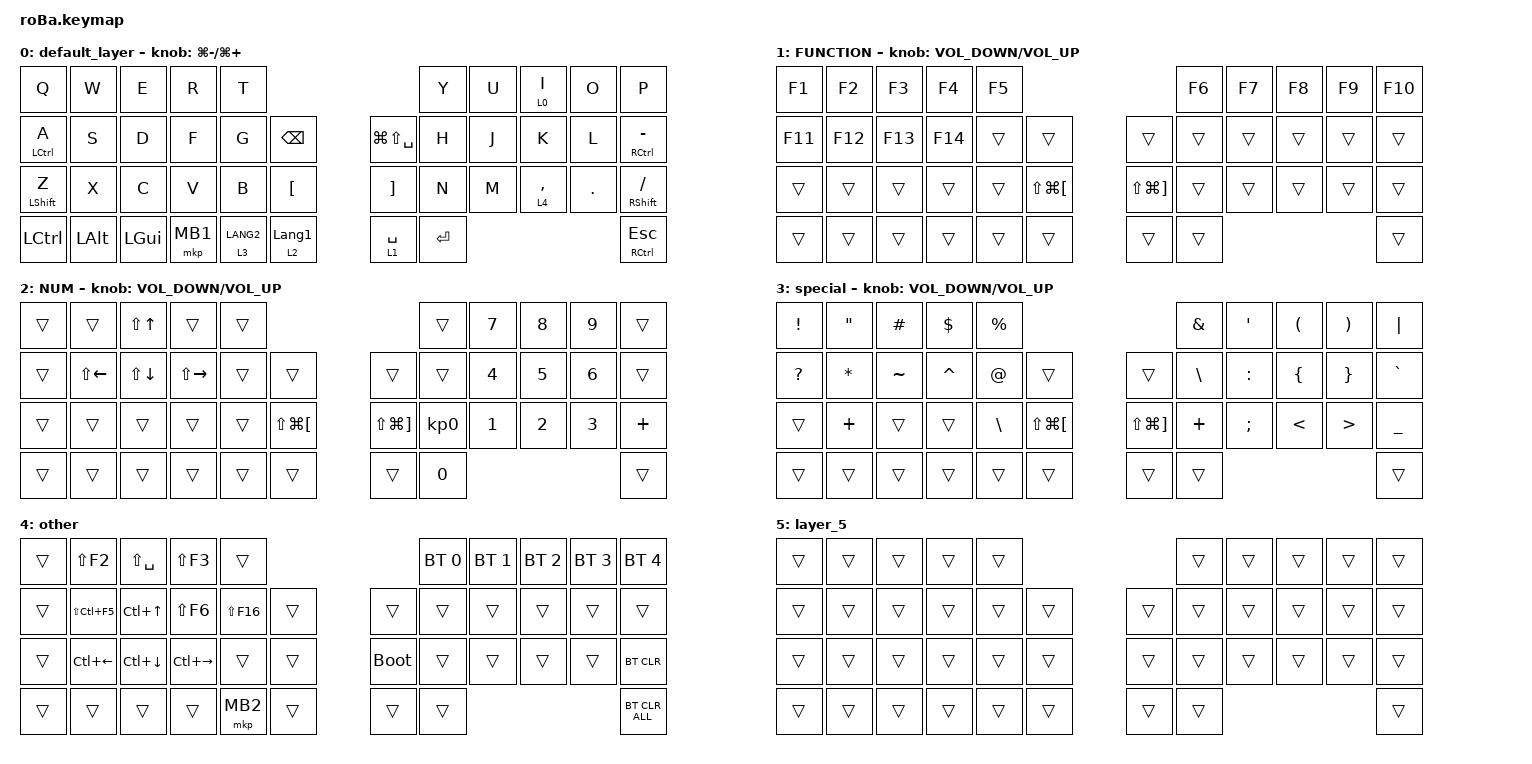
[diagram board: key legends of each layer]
#include <behaviors.dtsi>
#include <dt-bindings/zmk/bt.h>
#include <dt-bindings/zmk/keys.h>
#include <dt-bindings/zmk/pointing.h>

#define MOUSE 4
#define SCROLL 5
#define NUM 6
#define ZMK_MOUSE_POINTING_SCRL_VAL 100

&mt {
    flavor = "balanced";
    quick-tap-ms = <0>;
};

/ {
    combos {
        compatible = "zmk,combos";

        tab {
            bindings = <&kp TAB>;
            key-positions = <11 12>;
        };

        back {
            bindings = <&kp F15>;
            key-positions = <31 32>;
        };

        eq {
            bindings = <&kp EQUAL>;
            key-positions = <7 8>;
        };

        mb3 {
            bindings = <&mkp MB3>;
            key-positions = <24 25>;
            layers = <0>;
        };

        shiftz {
            bindings = <&kp LS(Z)>;
            key-positions = <22 23>;
        };

        mb2 {
            bindings = <&mkp MB2>;
            key-positions = <12 13>;
        };
    };

    macros {
        to_layer_0: to_layer_0 {
            compatible = "zmk,behavior-macro-one-param";
            #binding-cells = <1>;
            bindings = <&to 0 &macro_param_1to1 &kp MACRO_PLACEHOLDER>;
            label = "TO_LAYER_0";
        };
    };

    behaviors {
        lt_to_layer_0: lt_to_layer_0 {
            compatible = "zmk,behavior-hold-tap";
            label = "LAYER_TAP_TO_0";
            bindings = <&mo>, <&to_layer_0>;

            #binding-cells = <2>;
            tapping-term-ms = <200>;
        };

        scroll_up_down: behavior_sensor_rotate_mouse_wheel_up_down {
            compatible = "zmk,behavior-sensor-rotate";
            #sensor-binding-cells = <0>;
            bindings = <&msc SCRL_DOWN>, <&msc SCRL_UP>;

            tap-ms = <20>;
        };
    };

    keymap {
        compatible = "zmk,keymap";

        default_layer {
            bindings = <
&kp Q             &kp W         &kp E         &kp R     &kp T                                                                            &kp Y      &kp U  &lt 0 I      &kp O    &kp P
&mt LCTRL A       &kp S         &kp D         &kp F     &kp G                   &kp BACKSPACE                    &kp LG(LS(SPACE))       &kp H      &kp J  &kp K        &kp L    &mt RCTRL MINUS
&mt LEFT_SHIFT Z  &kp X         &kp C         &kp V     &kp B                   &kp LEFT_BRACKET                 &kp RIGHT_BRACKET       &kp N      &kp M  &lt 4 COMMA  &kp DOT  &mt RIGHT_SHIFT SLASH
&kp LCTRL         &kp LEFT_ALT  &kp LEFT_GUI  &mkp MB1  &lt_to_layer_0 3 LANG2  &lt_to_layer_0 2 LANGUAGE_1      &lt_to_layer_0 1 SPACE  &kp ENTER                               &mt RCTRL ESCAPE
            >;

            sensor-bindings = <&inc_dec_kp LG(MINUS) LG(PLUS)>;
        };

        FUNCTION {
            bindings = <
&kp F1   &kp F2   &kp F3   &kp F4   &kp F5                                                           &kp F6  &kp F7  &kp F8  &kp F9  &kp F10
&kp F11  &kp F12  &kp F13  &kp F14  &trans  &trans                        &trans                     &trans  &trans  &trans  &trans  &trans
&trans   &trans   &trans   &trans   &trans  &kp LS(LG(LEFT_BRACKET))      &kp LS(LG(RIGHT_BRACKET))  &trans  &trans  &trans  &trans  &trans
&trans   &trans   &trans   &trans   &trans  &trans                        &trans                     &trans                          &trans
            >;

            sensor-bindings = <&inc_dec_kp C_VOLUME_DOWN C_VOLUME_UP>;
        };

        NUM {
            bindings = <
&trans  &trans        &kp LS(UP)    &trans         &trans                                                           &trans           &kp N7  &kp N8  &kp N9  &trans
&trans  &kp LS(LEFT)  &kp LS(DOWN)  &kp LS(RIGHT)  &trans  &trans                        &trans                     &trans           &kp N4  &kp N5  &kp N6  &trans
&trans  &trans        &trans        &trans         &trans  &kp LS(LG(LEFT_BRACKET))      &kp LS(LG(RIGHT_BRACKET))  &kp KP_NUMBER_0  &kp N1  &kp N2  &kp N3  &kp PLUS
&trans  &trans        &trans        &trans         &trans  &trans                        &trans                     &kp NUMBER_0                             &trans
            >;

            sensor-bindings = <&inc_dec_kp C_VOLUME_DOWN C_VOLUME_UP>;
        };

        special {
            bindings = <
&kp EXCL      &kp DOUBLE_QUOTES  &kp HASH   &kp DOLLAR  &kp PERCENT                                                             &kp AMPERSAND  &kp SINGLE_QUOTE  &kp LPAR        &kp RPAR          &kp PIPE
&kp QUESTION  &kp ASTERISK       &kp TILDE  &kp CARET   &kp AT         &trans                        &trans                     &kp BACKSLASH  &kp COLON         &kp LEFT_BRACE  &kp RIGHT_BRACE   &kp GRAVE
&trans        &kp PLUS           &trans     &trans      &kp BACKSLASH  &kp LS(LG(LEFT_BRACKET))      &kp LS(LG(RIGHT_BRACKET))  &kp PLUS       &kp SEMICOLON     &kp LESS_THAN   &kp GREATER_THAN  &kp UNDERSCORE
&trans        &trans             &trans     &trans      &trans         &trans                        &trans                     &trans                                                             &trans
            >;

            sensor-bindings = <&inc_dec_kp C_VOLUME_DOWN C_VOLUME_UP>;
        };

        other {
            bindings = <
&trans  &kp LS(F2)      &kp LS(SPACE)     &kp LS(F3)     &trans                                &bt BT_SEL 0  &bt BT_SEL 1  &bt BT_SEL 2  &bt BT_SEL 3  &bt BT_SEL 4
&trans  &kp LS(LC(F5))  &kp LC(UP_ARROW)  &kp LS(F6)     &kp LS(F16)  &trans      &trans       &trans        &trans        &trans        &trans        &trans
&trans  &kp LC(LEFT)    &kp LC(DOWN)      &kp LC(RIGHT)  &trans       &trans      &bootloader  &trans        &trans        &trans        &trans        &bt BT_CLR
&trans  &trans          &trans            &trans         &mkp MB2     &trans      &trans       &trans                                                  &bt BT_CLR_ALL
            >;
        };

        layer_5 {
            bindings = <
&trans  &trans  &trans  &trans  &trans                      &trans  &trans  &trans  &trans  &trans
&trans  &trans  &trans  &trans  &trans  &trans      &trans  &trans  &trans  &trans  &trans  &trans
&trans  &trans  &trans  &trans  &trans  &trans      &trans  &trans  &trans  &trans  &trans  &trans
&trans  &trans  &trans  &trans  &trans  &trans      &trans  &trans                          &trans
            >;
        };
    };
};
